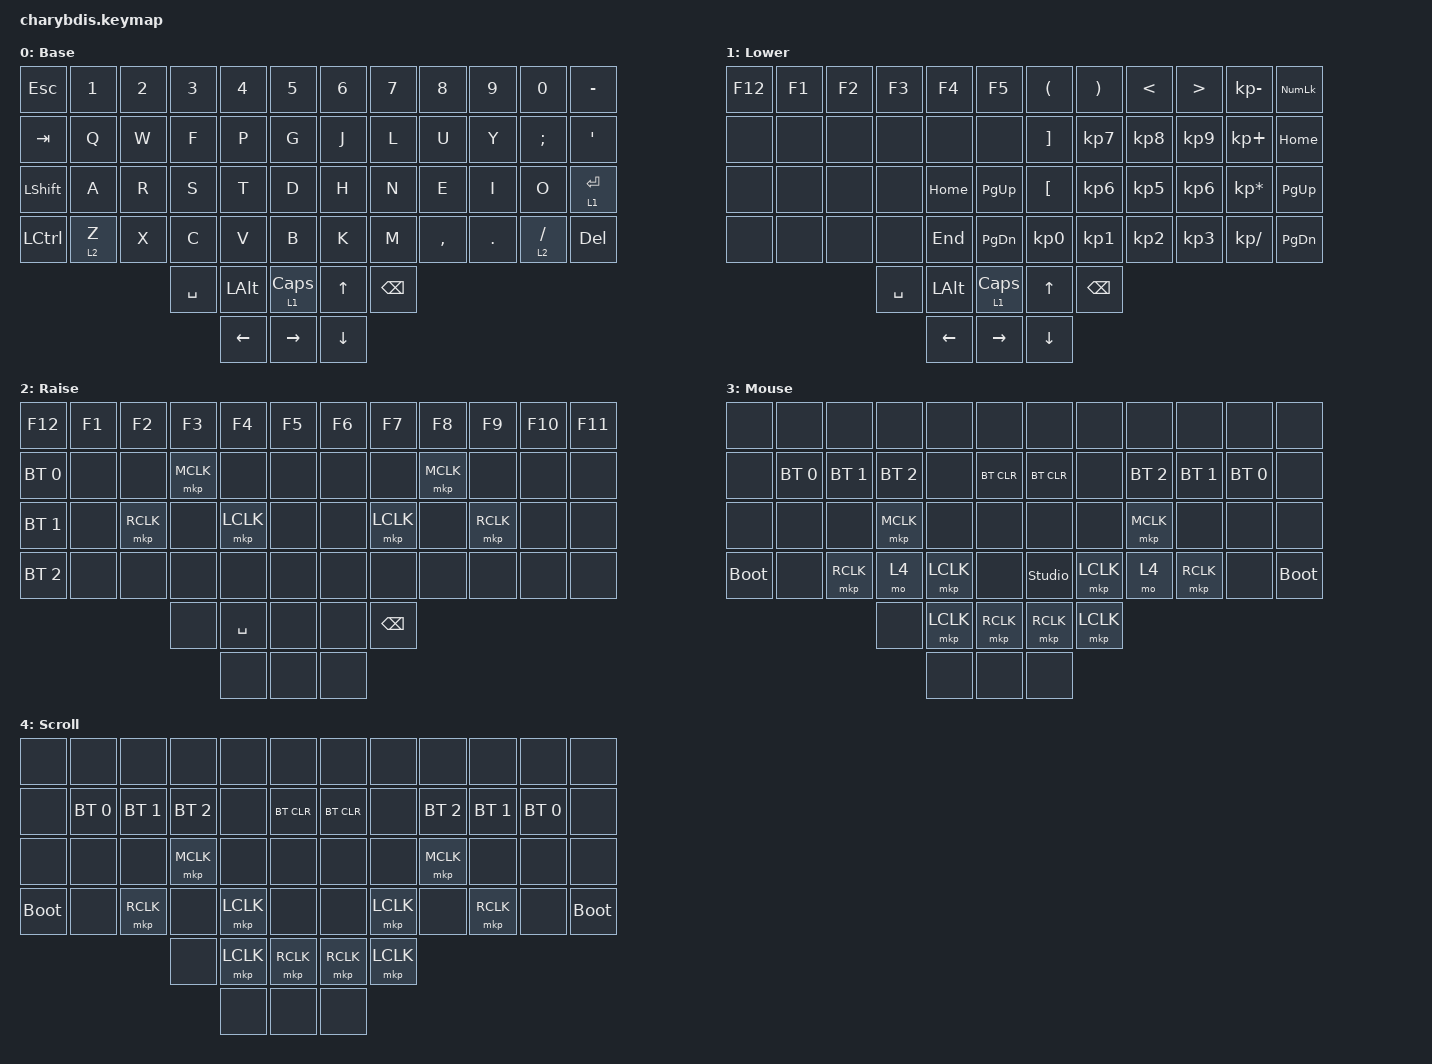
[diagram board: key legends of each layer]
#include <dt-bindings/zmk/mouse.h>
#include <behaviors.dtsi>
#include <dt-bindings/zmk/bt.h>
#include <dt-bindings/zmk/keys.h>
#include <dt-bindings/zmk/pointing.h>

&lt {
    tapping-term-ms = <200>;
    flavor = "balanced";
    quick-tap-ms = <150>;
};

/ {
    combos { compatible = "zmk,combos"; };

    keymap {
        compatible = "zmk,keymap";

        Base {
            bindings = <
&kp ESCAPE      &kp N1   &kp N2  &kp N3        &kp N4        &kp N5          &kp N6       &kp N7         &kp N8     &kp N9   &kp N0       &kp MINUS
&kp TAB         &kp Q    &kp W   &kp F         &kp P         &kp G           &kp J        &kp L          &kp U      &kp Y    &kp SEMI     &kp APOS
&kp LEFT_SHIFT  &kp A    &kp R   &kp S         &kp T         &kp D           &kp H        &kp N          &kp E      &kp I    &kp O        &lt 1 ENTER
&kp LCTRL       &lt 2 Z  &kp X   &kp C         &kp V         &kp B           &kp K        &kp M          &kp COMMA  &kp DOT  &lt 2 SLASH  &kp DEL
                                 &kp SPACE     &kp LEFT_ALT  &lt 1 CAPSLOCK  &kp UP       &kp BACKSPACE
                                               &kp LEFT      &kp RIGHT       &kp DOWN
            >;
        };

        Lower {
            bindings = <
&kp F12     &kp F1    &kp F2  &kp F3  &kp F4        &kp F5         &kp LPAR       &kp RPAR       &kp LT        &kp GT       &kp KP_MINUS      &kp KP_NUM
&none       &none     &none   &none   &none         &none          &kp RBKT       &kp KP_N7      &kp KP_N8     &kp KP_N9    &kp KP_PLUS       &kp HOME
&none       &none     &none   &none   &kp HOME      &kp PAGE_UP    &kp LBKT       &kp KP_N6      &kp KP_N5     &kp KP_N6    &kp KP_MULTIPLY   &kp PAGE_UP
&none       &none     &none   &none   &kp END       &kp PAGE_DOWN  &kp KP_N0      &kp KP_N1      &kp KP_N2     &kp KP_N3    &kp KP_DIVIDE     &kp PAGE_DOWN
                                      &kp SPACE     &kp LEFT_ALT   &lt 1 CAPSLOCK &kp UP         &kp BACKSPACE
                                                    &kp LEFT       &kp RIGHT      &kp DOWN
            >;
        };

        Raise {
            bindings = <
&kp F12         &kp F1  &kp F2      &kp F3      &kp F4      &kp F5      &kp F6     &kp F7       &kp F8      &kp F9    &kp F10  &kp F11
&bt BT_SEL 0    &none   &none       &mkp MCLK   &none       &none       &none      &none        &mkp MCLK   &none     &none    &none
&bt BT_SEL 1    &none   &mkp RCLK   &none       &mkp LCLK   &none       &none      &mkp LCLK    &none       &mkp RCLK &none    &none
&bt BT_SEL 2    &none   &none       &none       &none       &none       &none      &none        &none       &none     &none    &none
                                                &none       &kp SPACE   &none      &none        &kp BACKSPACE
                                                            &none       &none      &none
            >;
        };

        Mouse {
            bindings = <
&none        &none         &none         &none         &none      &none         &none           &none      &none         &none         &none         &none
&none        &bt BT_SEL 0  &bt BT_SEL 1  &bt BT_SEL 2  &none      &bt BT_CLR    &bt BT_CLR      &none      &bt BT_SEL 2  &bt BT_SEL 1  &bt BT_SEL 0  &none
&none        &none         &none         &mkp MCLK     &none      &none         &none           &none      &mkp MCLK     &none         &none         &none
&bootloader  &none         &mkp RCLK     &mo 4         &mkp LCLK  &none         &studio_unlock  &mkp LCLK  &mo 4         &mkp RCLK     &none         &bootloader
                                         &none         &mkp LCLK  &mkp RCLK     &mkp RCLK       &mkp LCLK
                                                       &none      &none         &none
            >;
        };

        Scroll {
            bindings = <
&none        &none         &none         &none         &none      &none         &none       &none      &none         &none         &none         &none
&none        &bt BT_SEL 0  &bt BT_SEL 1  &bt BT_SEL 2  &none      &bt BT_CLR    &bt BT_CLR  &none      &bt BT_SEL 2  &bt BT_SEL 1  &bt BT_SEL 0  &none
&none        &none         &none         &mkp MCLK     &none      &none         &none       &none      &mkp MCLK     &none         &none         &none
&bootloader  &none         &mkp RCLK     &none         &mkp LCLK  &none         &none       &mkp LCLK  &none         &mkp RCLK     &none         &bootloader
                                         &none         &mkp LCLK  &mkp RCLK     &mkp RCLK   &mkp LCLK
                                                       &none      &none         &none
            >;
        };
    };
};
